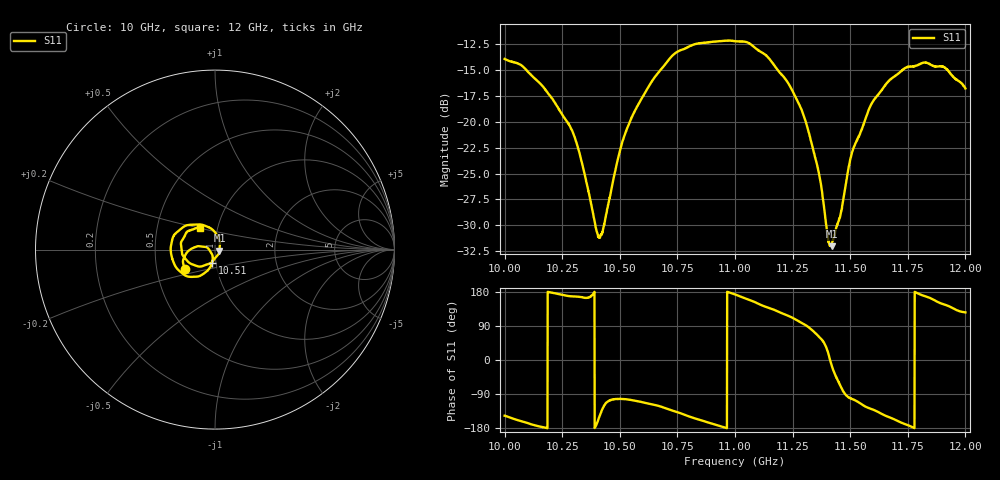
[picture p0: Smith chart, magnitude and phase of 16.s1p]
[Version] 2.0
! Rohde & Schwarz Vector Network Analyzer
! Rohde-Schwarz,ZNL20-2Port,1323001220200009,1.71.1.10-23.02.1.238
! Port Assignments:
! Nominal Port -> Actual Test Port
!  1 -> 1
! Created: GMT 2024-08-27 12:54:34
# Hz S DB R 50
[Number of Ports] 1
! freq[Hz]  S11[mag dB]  S11[ang]
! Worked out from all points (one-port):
!   2001 points, 10 GHz to 12 GHz, reference 50 ohm
!   lowest |S11| = -32.0 dB at 11.42 GHz (marker M1), VSWR 1.05, Z = 52.5 - j0.592 ohm
!   |S11| at or under -10 dB: start of sweep to end of sweep
!   S11 on the Smith chart (normalised r, x): 10 GHz: 0.70, -0.16; 10.51 GHz: 0.96, -0.14; 12 GHz: 0.82, +0.20
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[Number of Frequencies] 28
[Network Data]
1e10  -13.92 -147.0
1.0084e10  -14.76 -163.5
1.025e10  -19.30 172.0
1.0314e10  -22.18 167.3
1.0396e10  -30.23 -173.7
1.041e10  -31.20 -151.8
1.0429e10  -30.20 -124.3
1.05e10  -22.82 -102.6
1.0506e10  -22.36 -102.8
1.0553e10  -19.53 -106.0
1.0626e10  -16.56 -115.3
1.075e10  -13.22 -137.8
1.0855e10  -12.38 -159.3
1.1e10  -12.21 173.0
1.1133e10  -13.53 140.4
1.125e10  -17.02 111.2
1.1296e10  -19.28 95.5
1.1331e10  -21.94 80.9
1.1368e10  -25.44 59.3
1.1404e10  -31.33 19.0
1.1419e10  -32.01 -13.0
1.1459e10  -28.83 -69.9
1.15e10  -23.64 -100.8
1.1598e10  -18.05 -130.8
1.1667e10  -16.05 -150.4
1.175e10  -14.71 -172.0
1.1902e10  -14.67 147.8
1.2e10  -16.77 125.6
[End]
